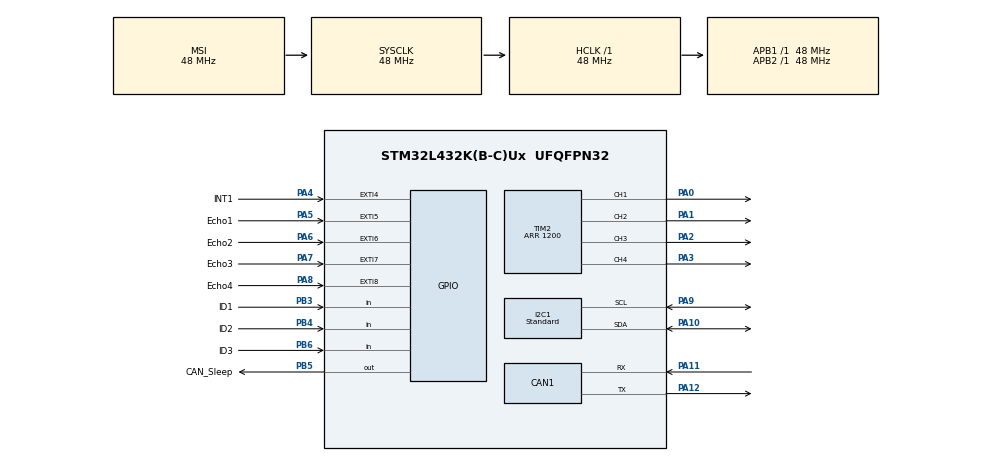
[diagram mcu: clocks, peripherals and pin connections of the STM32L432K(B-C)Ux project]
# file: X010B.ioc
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CAN1.BS1=CAN_BS1_1TQ
CAN1.BS2=CAN_BS2_1TQ
CAN1.CalculateTimeQuantum=333.3333333333333
I2C1.I2C_Coeff_DF=6
I2C1.I2C_Fall_Time=150
I2C1.I2C_Rise_Time=500
I2C1.I2C_Speed_Mode=I2C_Standard
I2C1.Timing=0x30802D3C
Mcu.Family=STM32L4
Mcu.Name=STM32L432K(B-C)Ux
Mcu.Package=UFQFPN32
NVIC.EXTI4_IRQn=true\:0\:0\:false\:false\:true\:true
NVIC.EXTI9_5_IRQn=true\:0\:0\:false\:false\:true\:true
NVIC.PriorityGroup=NVIC_PRIORITYGROUP_4
NVIC.TIM1_UP_TIM16_IRQn=true\:0\:0\:false\:false\:true\:true
NVIC.TIM7_IRQn=true\:0\:0\:false\:false\:true\:true
PA0.Signal=S_TIM2_CH1
PA1.Signal=S_TIM2_CH2
PA10.Mode=I2C
PA10.Signal=I2C1_SDA
PA11.Mode=Master
PA11.Signal=CAN1_RX
PA12.Mode=Master
PA12.Signal=CAN1_TX
PA13\ (JTMS-SWDIO).Mode=Serial_Wire
PA13\ (JTMS-SWDIO).Signal=SYS_JTMS-SWDIO
PA14\ (JTCK-SWCLK).Mode=Serial_Wire
PA14\ (JTCK-SWCLK).Signal=SYS_JTCK-SWCLK
PA2.Signal=S_TIM2_CH3
PA3.Signal=S_TIM2_CH4
PA4.GPIO_Label=INT1
PA4.GPIO_ModeDefaultEXTI=GPIO_MODE_IT_RISING
PA4.Signal=GPXTI4
PA5.GPIO_Label=Echo1
PA5.GPIO_ModeDefaultEXTI=GPIO_MODE_IT_RISING
PA5.Signal=GPXTI5
PA6.GPIO_Label=Echo2
PA6.GPIO_ModeDefaultEXTI=GPIO_MODE_IT_RISING
PA6.Signal=GPXTI6
PA7.GPIO_Label=Echo3
PA7.GPIO_ModeDefaultEXTI=GPIO_MODE_IT_RISING
PA7.Signal=GPXTI7
PA8.GPIO_Label=Echo4
PA8.GPIO_ModeDefaultEXTI=GPIO_MODE_IT_RISING
PA8.Signal=GPXTI8
PA9.Mode=I2C
PA9.Signal=I2C1_SCL
PB3\ (JTDO-TRACESWO).GPIO_Label=ID1
PB3\ (JTDO-TRACESWO).Signal=GPIO_Input
PB4\ (NJTRST).GPIO_Label=ID2
PB4\ (NJTRST).Signal=GPIO_Input
PB5.GPIO_Label=CAN_Sleep
PB5.Signal=GPIO_Output
PB6.GPIO_Label=ID3
PB6.Signal=GPIO_Input
PC14-OSC32_IN\ (PC14).Mode=LSE-External-Oscillator
PC14-OSC32_IN\ (PC14).Signal=RCC_OSC32_IN
PC15-OSC32_OUT\ (PC15).Mode=LSE-External-Oscillator
PC15-OSC32_OUT\ (PC15).Signal=RCC_OSC32_OUT
ProjectManager.HeapSize=0x200
ProjectManager.StackSize=0x400
ProjectManager.TargetToolchain=MDK-ARM V5
RCC.ADCFreq_Value=384000000
RCC.AHBFreq_Value=48000000
RCC.APB1Freq_Value=48000000
RCC.APB1TimFreq_Value=48000000
RCC.APB2Freq_Value=48000000
RCC.APB2TimFreq_Value=48000000
RCC.CortexFreq_Value=48000000
RCC.HCLKFreq_Value=48000000
RCC.HSE_VALUE=8000000
RCC.HSI48_VALUE=48000000
RCC.HSI_VALUE=16000000
RCC.I2C1CLockSelection=RCC_I2C1CLKSOURCE_SYSCLK
RCC.MSIClockRange=RCC_MSIRANGE_11
RCC.MSI_VALUE=48000000
RCC.PLLN=40
RCC.PLLSAI1N=16
RCC.RTCClockSelection=RCC_RTCCLKSOURCE_LSE
RCC.SYSCLKFreq_VALUE=48000000
RCC.USBFreq_Value=384000000
RCC.VCOOutputFreq_Value=1920000000
SH.S_TIM2_CH1.0=TIM2_CH1,PWM Generation1 CH1
SH.S_TIM2_CH2.0=TIM2_CH2,PWM Generation2 CH2
SH.S_TIM2_CH3.0=TIM2_CH3,PWM Generation3 CH3
SH.S_TIM2_CH4.0=TIM2_CH4,PWM Generation4 CH4
TIM16.Channel=TIM_CHANNEL_1
TIM16.Period=480
TIM16.Prescaler=0
TIM2.Channel-PWM\ Generation1\ CH1=TIM_CHANNEL_1
TIM2.Channel-PWM\ Generation2\ CH2=TIM_CHANNEL_2
TIM2.Channel-PWM\ Generation3\ CH3=TIM_CHANNEL_3
TIM2.Channel-PWM\ Generation4\ CH4=TIM_CHANNEL_4
TIM2.Period=1200
TIM7.Prescaler=720
VP_RTC_VS_RTC_Activate.Mode=RTC_Enabled
VP_TIM16_VS_ClockSourceINT.Mode=Enable_Timer
VP_TIM16_VS_no_output1.Mode=Output Compare1 No Output
VP_TIM7_VS_ClockSourceINT.Mode=Enable_Timer
board=custom

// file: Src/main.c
/**
  ******************************************************************************
  * @file           : main.c
  * @brief          : Main program body
  ******************************************************************************
  ** This notice applies to any and all portions of this file
  * that are not between comment pairs USER CODE BEGIN and
  * USER CODE END. Other portions of this file, whether
  * inserted by the user or by software development tools
  * are owned by their respective copyright owners.
  *
  * COPYRIGHT(c) 2018 STMicroelectronics
  *
  * Redistribution and use in source and binary forms, with or without modification,
  * are permitted provided that the following conditions are met:
  *   1. Redistributions of source code must retain the above copyright notice,
  *      this list of conditions and the following disclaimer.
  *   2. Redistributions in binary form must reproduce the above copyright notice,
  *      this list of conditions and the following disclaimer in the documentation
  *      and/or other materials provided with the distribution.
  *   3. Neither the name of STMicroelectronics nor the names of its contributors
  *      may be used to endorse or promote products derived from this software
  *      without specific prior written permission.
  *
  * THIS SOFTWARE IS PROVIDED BY THE COPYRIGHT HOLDERS AND CONTRIBUTORS "AS IS"
  * AND ANY EXPRESS OR IMPLIED WARRANTIES, INCLUDING, BUT NOT LIMITED TO, THE
  * IMPLIED WARRANTIES OF MERCHANTABILITY AND FITNESS FOR A PARTICULAR PURPOSE ARE
  * DISCLAIMED. IN NO EVENT SHALL THE COPYRIGHT HOLDER OR CONTRIBUTORS BE LIABLE
  * FOR ANY DIRECT, INDIRECT, INCIDENTAL, SPECIAL, EXEMPLARY, OR CONSEQUENTIAL
  * DAMAGES (INCLUDING, BUT NOT LIMITED TO, PROCUREMENT OF SUBSTITUTE GOODS OR
  * SERVICES; LOSS OF USE, DATA, OR PROFITS; OR BUSINESS INTERRUPTION) HOWEVER
  * CAUSED AND ON ANY THEORY OF LIABILITY, WHETHER IN CONTRACT, STRICT LIABILITY,
  * OR TORT (INCLUDING NEGLIGENCE OR OTHERWISE) ARISING IN ANY WAY OUT OF THE USE
  * OF THIS SOFTWARE, EVEN IF ADVISED OF THE POSSIBILITY OF SUCH DAMAGE.
  *
  ******************************************************************************
  */
#include "main.h"
#include "stm32l4xx_hal.h"
#include "can.h"
#include "i2c.h"
#include "rtc.h"
#include "tim.h"
#include "gpio.h"

/* USER CODE BEGIN Includes */
#include "accel.h"
#include "sensors.h"

/* USER CODE END Includes */

/* USER CODE BEGIN PV */
/* Private variables ---------------------------------------------------------*/
#define I2Cx            I2C1
uint8_t recieved_data;
uint8_t write_data;

/* USER CODE END PV */

void SystemClock_Config(void);

/* USER CODE BEGIN PFP */
/* Private function prototypes -----------------------------------------------*/
static void I2C_TEST()
{
	uint8_t NBYTES = 1;

	I2C1->CR2 &=~ I2C_CR2_NBYTES;
	I2C1->CR2 &=~ I2C_CR2_SADD;
	I2C1->CR2 |= __ACCEL_ADDR_WRITE;
	I2C1->CR2 |= (NBYTES<<16); //NBYTES (1 byte)
	I2C1->CR2 &=~ I2C_CR2_RD_WRN; //write

	I2C1->ISR =0xFFFFFFFF;
	I2C1->CR2 |= I2C_CR2_START;

	while(I2C1->ISR & I2C_ISR_NACKF)
	{
	}

	while (!(I2C1->ISR & I2C_ISR_TXIS)) //Transmit interrupt
	{
	}

	I2C1->TXDR=__ACCEL_CTRL_REG1;

	while (I2C1->ISR & I2C_ISR_TC) //Transfer complete
	{
	}
	I2C1->CR2 &=~ I2C_CR2_SADD;
	I2C1->CR2 &=~ I2C_CR2_RD_WRN;
	I2C1->CR2 |= __ACCEL_ADDR_READ;
	I2C1->CR2 |= I2C_CR2_RD_WRN; //read
	//I2C1->ISR =0xFFFFFFFF;

	I2C1->CR2 |= I2C_CR2_START;

	while(!(I2C1->ISR & I2C_ISR_RXNE))
	{
	}
	recieved_data = I2C1->RXDR;

	while (I2C1->ISR & I2C_ISR_TC) //Transfer complete
	{
	}
	I2C1->CR2 |= I2C_CR2_STOP;
}
/* USER CODE END PFP */

int main(void)
{

  /* MCU Configuration----------------------------------------------------------*/

  /* Reset of all peripherals, Initializes the Flash interface and the Systick. */
  HAL_Init();

  /* Configure the system clock */
  SystemClock_Config();

  /* Initialize all configured peripherals */
  MX_GPIO_Init();
  MX_CAN1_Init();
  MX_I2C1_Init();
  MX_TIM2_Init();
  MX_RTC_Init();
  MX_TIM16_Init();
  MX_TIM7_Init();
  /* USER CODE BEGIN 2 */

	TIM16->DIER |= TIM_DIER_UIE;
	TIM16->CR1 |= TIM_CR1_CEN;

//	TIM7->DIER |= TIM_DIER_UIE;
//	TIM7->CR1 |= TIM_CR1_CEN;

	TIM2->CCER |= TIM_CCER_CC1E|TIM_CCER_CC2E|TIM_CCER_CC3E|TIM_CCER_CC4E;
  TIM2->CR1 |= TIM_CR1_CEN;

	/*write_data = __ACCEL_NORMAL_MODE | __ACCEL_ODR_50_HZ | __ACCEL_AXES_ENABLE;
	uint8_t NBYTES = 2;
	(void)I2C1->ICR;
	(void)I2C1->CR2;

	I2C1->CR2 |= __ACCEL_ADDR_WRITE;
	I2C1->CR2 |= (NBYTES<<16);
	I2C1->CR2 &=~ I2C_CR2_RD_WRN;

	I2C1->TXDR = __ACCEL_CTRL_REG1;
	I2C1->CR2 |= I2C_CR2_START;

	while(I2C1->ISR & I2C_ISR_NACKF)
	{
	}
	while (!(I2C1->ISR & I2C_ISR_TXIS)) //Transmit interrupt
	{
	}

	I2C1->TXDR = write_data;

	while (I2C1->ISR & I2C_ISR_TC) //Transfer complete
	{
	}

	I2C1->CR2 |= I2C_CR2_STOP;

	I2C_TEST();*/
	Accel_Global_Init();
	NVIC_SetPriority (EXTI9_5_IRQn, 2);

  /* USER CODE END 2 */

  /* Infinite loop */
  /* USER CODE BEGIN WHILE */
  while (1)
  {

	 //Accel_ReadAcc();
		/*if (Signal_Count)
		{
			Sonar_Get();
		}*/
  /* USER CODE END WHILE */

  }

}

void SystemClock_Config(void)
{

  RCC_OscInitTypeDef RCC_OscInitStruct;
  RCC_ClkInitTypeDef RCC_ClkInitStruct;
  RCC_PeriphCLKInitTypeDef PeriphClkInit;

    /**Configure LSE Drive Capability
    */
  HAL_PWR_EnableBkUpAccess();

  __HAL_RCC_LSEDRIVE_CONFIG(RCC_LSEDRIVE_LOW);

    /**Initializes the CPU, AHB and APB busses clocks
    */
  RCC_OscInitStruct.OscillatorType = RCC_OSCILLATORTYPE_LSE|RCC_OSCILLATORTYPE_MSI;
  RCC_OscInitStruct.LSEState = RCC_LSE_ON;
  RCC_OscInitStruct.MSIState = RCC_MSI_ON;
  RCC_OscInitStruct.MSICalibrationValue = 0;
  RCC_OscInitStruct.MSIClockRange = RCC_MSIRANGE_11;
  RCC_OscInitStruct.PLL.PLLState = RCC_PLL_NONE;
  if (HAL_RCC_OscConfig(&RCC_OscInitStruct) != HAL_OK)
  {
    _Error_Handler(__FILE__, __LINE__);
  }

    /**Initializes the CPU, AHB and APB busses clocks
    */
  RCC_ClkInitStruct.ClockType = RCC_CLOCKTYPE_HCLK|RCC_CLOCKTYPE_SYSCLK
                              |RCC_CLOCKTYPE_PCLK1|RCC_CLOCKTYPE_PCLK2;
  RCC_ClkInitStruct.SYSCLKSource = RCC_SYSCLKSOURCE_MSI;
  RCC_ClkInitStruct.AHBCLKDivider = RCC_SYSCLK_DIV1;
  RCC_ClkInitStruct.APB1CLKDivider = RCC_HCLK_DIV1;
  RCC_ClkInitStruct.APB2CLKDivider = RCC_HCLK_DIV1;

  if (HAL_RCC_ClockConfig(&RCC_ClkInitStruct, FLASH_LATENCY_2) != HAL_OK)
  {
    _Error_Handler(__FILE__, __LINE__);
  }

  PeriphClkInit.PeriphClockSelection = RCC_PERIPHCLK_RTC|RCC_PERIPHCLK_I2C1;
  PeriphClkInit.I2c1ClockSelection = RCC_I2C1CLKSOURCE_SYSCLK;
  PeriphClkInit.RTCClockSelection = RCC_RTCCLKSOURCE_LSE;
  if (HAL_RCCEx_PeriphCLKConfig(&PeriphClkInit) != HAL_OK)
  {
    _Error_Handler(__FILE__, __LINE__);
  }

    /**Configure the main internal regulator output voltage
    */
  if (HAL_PWREx_ControlVoltageScaling(PWR_REGULATOR_VOLTAGE_SCALE1) != HAL_OK)
  {
    _Error_Handler(__FILE__, __LINE__);
  }

    /**Configure the Systick interrupt time
    */
  HAL_SYSTICK_Config(HAL_RCC_GetHCLKFreq()/1000);

    /**Configure the Systick
    */
  HAL_SYSTICK_CLKSourceConfig(SYSTICK_CLKSOURCE_HCLK);

    /**Enable MSI Auto calibration
    */
  HAL_RCCEx_EnableMSIPLLMode();

  /* SysTick_IRQn interrupt configuration */
  HAL_NVIC_SetPriority(SysTick_IRQn, 0, 0);
}

void _Error_Handler(char *file, int line)
{
  while(1)
  {
  }
}

/************************ (C) COPYRIGHT STMicroelectronics *****END OF FILE****/
